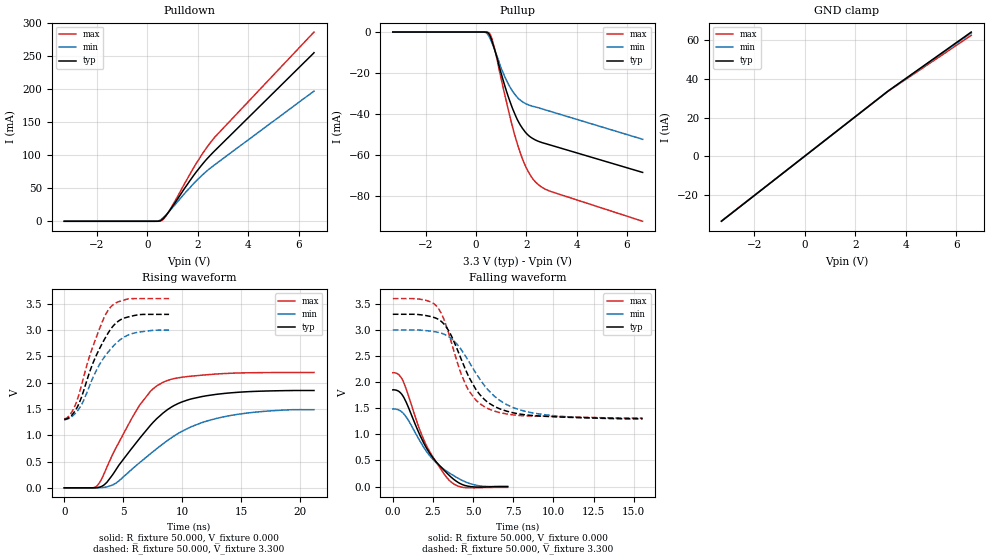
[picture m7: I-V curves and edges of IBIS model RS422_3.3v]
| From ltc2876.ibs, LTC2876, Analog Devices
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[Model]   RS422_3.3v
Model_type I/O
Vinl=1.450E+00
Vinh=1.850E+00
Vref=1.650E+00
Rref=5.000E+01
Cref=1.000E-10
Vmeas= 1.650E+00
C_comp   1.970E-12   1.870E-12   2.050E-12
[Model Spec]
Vmeas 1.650  1.5000 1.800
Vref  1.650  1.5000 1.800
[Voltage Range]   3.300E+00   3.000E+00   3.600E+00
[POWER Clamp Reference]   3.300E+00   3.000E+00   3.600E+00
[GND Clamp Reference]   0.000E+00   0.000E+00   0.000E+00
[Pullup Reference]   3.300E+00   3.000E+00   3.600E+00
[Pulldown Reference]   0.000E+00   0.000E+00   0.000E+00
[Temperature Range]   25   125   -40
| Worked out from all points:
|   slope of the pulldown table from 0 to 0.495 V, typ, clamps not added: 755 ohm
|   slope of the pullup table from 0 to 0.495 V, typ, clamps not added: 843 ohm
|   rising waveform, R_fixture 50.000, V_fixture 0.000: 20-80 % time 4.26ns typ, 5.64ns min, 3.33ns max; typ from 0 V to 1.85 V
|   falling waveform, R_fixture 50.000, V_fixture 0.000: 20-80 % time 1.99ns typ, 2.22ns min, 1.83ns max; typ from 1.85 V to 0 V
|   rising waveform, R_fixture 50.000, V_fixture 3.300: 20-80 % time 2.18ns typ, 2.42ns min, 1.96ns max; typ from 1.3 V to 3.3 V
|   falling waveform, R_fixture 50.000, V_fixture 3.300: 20-80 % time 1.98ns typ, 2.55ns min, 1.63ns max; typ from 3.3 V to 1.3 V
[GND Clamp]
-3.3V     -33.67uA   -33.7uA    -33.56uA
0V        0A         0A         0A
3.3V      33.67uA    33.7uA     33.56uA
6.6V      64.26uA    63.76uA    62.53uA
[POWER Clamp]
-3.3V     0A         0A         0A
0V        0A         0A         0A
6.6V      0A         0A         0A
[Pullup]
-3.3V     29.14uA    25.71uA    32.5uA
300mV     26.59uA    3.724uA    31.23uA
520mV     -925.4uA   -2.106mA   -342.4uA
620mV     -3.693mA   -4.725mA   -2.674mA
760mV     -9.222mA   -9.177mA   -9.004mA
1.16V     -26.66mA   -22.12mA   -31.27mA
1.56V     -40.3mA    -30.51mA   -50.94mA
1.94V     -48.37mA   -34.59mA   -64.45mA
2.32V     -52.25mA   -36.31mA   -72.37mA
2.58V     -53.61mA   -37.21mA   -75.21mA
2.96V     -55.01mA   -38.62mA   -77.55mA
6.62V     -68.32mA   -52.19mA   -92.11mA
[Pulldown]
-3.3V     0A         0A         0A
280mV     0A         0A         0A
440mV     174.8uA    682.9uA    25.09uA
580mV     2.643mA    3.989mA    1.565mA
720mV     8.143mA    8.889mA    7.48mA
920mV     18.39mA    17.44mA    19.35mA
1.94V     74.91mA    61.3mA     87.91mA
2.32V     92.68mA    74.91mA    109.9mA
2.62V     104.8mA    84.14mA    124.9mA
6.6V      254.8mA    196.8mA    286mA
[Rising Waveform]
R_fixture = 50.000
V_fixture = 0.000
V_fixture_min = 0.000
V_fixture_max = 0.000
|  time   V(typ)   V(min)   V(max)
0s        -61.48pV   46.01pV    -37.74pV
2.8ns     3.933mV    677.7uV    40.36mV
3.4ns     58.41mV    10.23mV    276.3mV
4.3ns     312.4mV    77.58mV    720mV
6.35ns    925.2mV    469.5mV    1.554V
7.35ns    1.197V     653.6mV    1.842V
8.4ns     1.424V     839.2mV    2.009V
10ns      1.634V     1.075V     2.103V
12.95ns   1.779V     1.321V     2.165V
21.2ns    1.851V     1.487V     2.194V
[Falling Waveform]
R_fixture = 50.000
V_fixture = 0.000
V_fixture_min = 0.000
V_fixture_max = 0.000
|  time   V(typ)   V(min)   V(max)
0s        1.851V     1.487V     2.179V
350ps     1.827V     1.469V     2.148V
600ps     1.748V     1.419V     2.043V
2ns       789.5mV    716.5mV    846.1mV
2.6ns     509.9mV    487.1mV    514.7mV
3.5ns     217.4mV    263.9mV    123.8mV
4.05ns    82.23mV    161.6mV    10.66mV
4.65ns    8.771mV    72.88mV    -22.35mV
5.55ns    -9.086mV   8.302mV    -20.57mV
7.15ns    -61.48pV   46.01pV    -16.16mV
[Rising Waveform]
R_fixture = 50.000
V_fixture = 3.300
V_fixture_min = 3.000
V_fixture_max = 3.600
|  time   V(typ)   V(min)   V(max)
0s        1.302V     1.294V     1.312V
550ps     1.359V     1.339V     1.407V
1.1ns     1.53V      1.456V     1.667V
1.65ns    1.846V     1.659V     2.107V
2.4ns     2.349V     2.076V     2.666V
3.35ns    2.796V     2.469V     3.219V
3.9ns     3.003V     2.627V     3.426V
4.7ns     3.185V     2.806V     3.546V
5.65ns    3.261V     2.925V     3.596V
8.9ns     3.298V     2.998V     3.598V
[Falling Waveform]
R_fixture = 50.000
V_fixture = 3.300
V_fixture_min = 3.000
V_fixture_max = 3.600
|  time   V(typ)   V(min)   V(max)
0s        3.298V     2.998V     3.598V
1.85ns    3.283V     2.991V     3.578V
2.75ns    3.215V     2.957V     3.445V
3.5ns     2.971V     2.865V     2.911V
4.55ns    2.222V     2.485V     1.94V
5.15ns    1.869V     2.182V     1.662V
5.9ns     1.616V     1.86V      1.496V
7.1ns     1.442V     1.567V     1.389V
8.65ns    1.361V     1.413V     1.351V
15.55ns   1.302V     1.294V     1.312V
[Ramp]
dV/dt_r   1.1109E+00/4.2622E-09   8.9198E-01/5.6111E-09   1.3172E+00/3.2881E-09
dV/dt_f   1.1970E+00/1.9652E-09   1.0220E+00/2.5520E-09   1.3710E+00/1.6141E-09
R_load = 50
